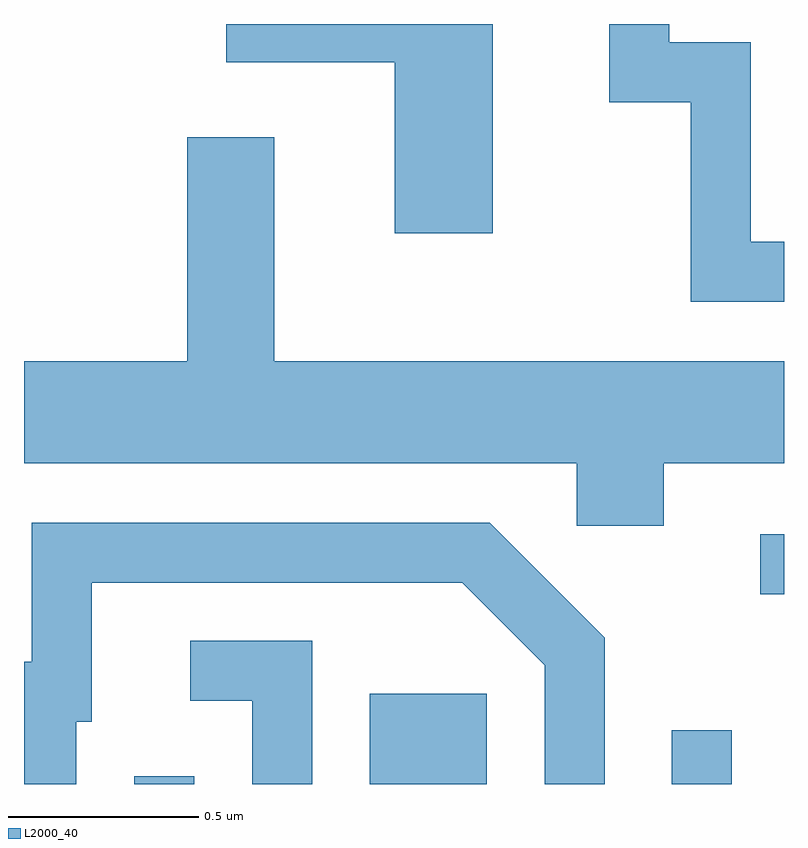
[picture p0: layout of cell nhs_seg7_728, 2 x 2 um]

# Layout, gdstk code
import gdstk
lib = gdstk.Library(unit=1e-6, precision=1e-09)
def R(c, l, rs):  # rectangles x0, y0, x1, y1
    for r in rs: c.add(gdstk.rectangle(r[:2], r[2:], *l))
def P(c, l, *ps):  # polygons
    for p in ps: c.add(gdstk.Polygon(p, *l))
L2000_40 = (2000, 40)

nhs_seg7_728 = lib.new_cell('nhs_seg7_728')
R(nhs_seg7_728, L2000_40, [(190.901,1711.252,191.059,1711.273), (191.521,1711.252,191.829,1711.489), (192.316,1711.252,192.474,1711.393), (192.548,1711.751,192.611,1711.909)])
P(nhs_seg7_728, L2000_40, [(192.611,1712.679),(192.524,1712.679),(192.524,1713.204),(192.309,1713.204),(192.309,1713.252),(192.151,1713.252),(192.151,1713.046),(192.366,1713.046),(192.366,1712.521),(192.611,1712.521)],
  [(191.844,1713.252),(191.143,1713.252),(191.143,1713.151),(191.586,1713.151),(191.586,1712.701),(191.844,1712.701)],
  [(192.294,1712.096),(192.611,1712.096),(192.611,1712.364),(191.269,1712.364),(191.269,1712.954),(191.041,1712.954),(191.041,1712.364),(190.611,1712.364),(190.611,1712.096),(192.066,1712.096),(192.066,1711.931),(192.294,1711.931)],
  [(190.749,1711.416),(190.789,1711.416),(190.789,1711.781),(191.764,1711.781),(191.981,1711.564),(191.981,1711.252),(192.139,1711.252),(192.139,1711.637),(191.837,1711.939),(190.631,1711.939),(190.631,1711.574),(190.611,1711.574),(190.611,1711.252),(190.749,1711.252)],
  [(191.369,1711.629),(191.048,1711.629),(191.048,1711.471),(191.211,1711.471),(191.211,1711.252),(191.369,1711.252)])

lib.write_gds('nhs_seg7_728.gds')
